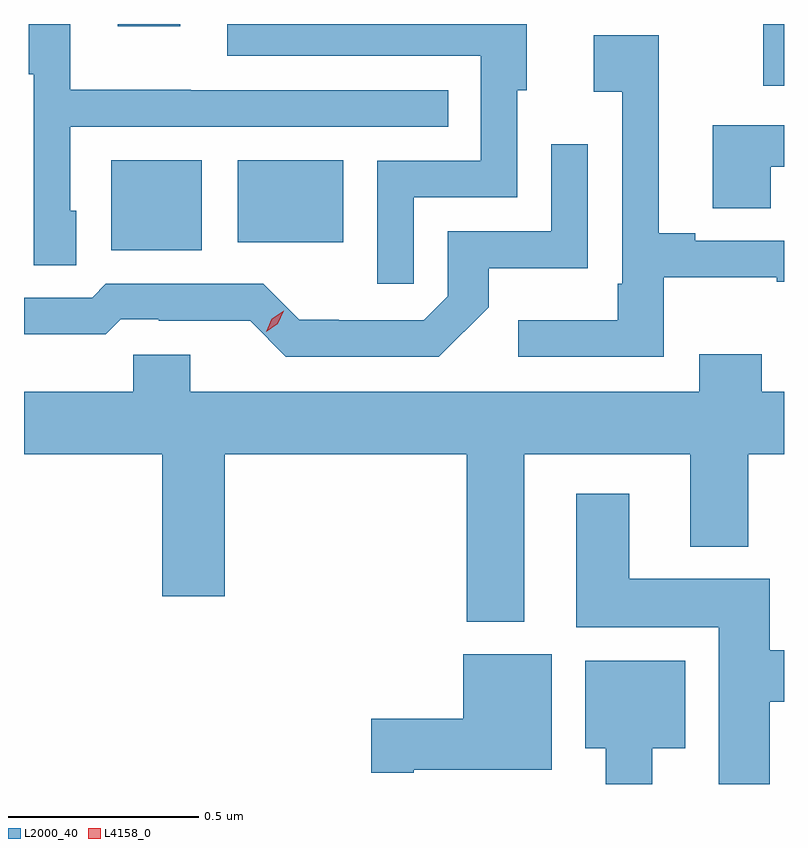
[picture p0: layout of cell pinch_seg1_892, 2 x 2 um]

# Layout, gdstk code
import gdstk
lib = gdstk.Library(unit=1e-6, precision=1e-09)
def R(c, l, rs):  # rectangles x0, y0, x1, y1
    for r in rs: c.add(gdstk.rectangle(r[:2], r[2:], *l))
def P(c, l, *ps):  # polygons
    for p in ps: c.add(gdstk.Polygon(p, *l))
L2000_40 = (2000, 40)
L4158_0 = (4158, 0)

pinch_seg1_892 = lib.new_cell('pinch_seg1_892')
R(pinch_seg1_892, L2000_40, [(464.573,517.637,464.812,517.873), (464.906,517.658,465.184,517.873), (466.289,518.07,466.344,518.232), (464.591,518.226,464.755,518.232)])
P(pinch_seg1_892, L2000_40, [(465.369,517.776),(465.642,517.776),(465.642,518.058),(465.667,518.058),(465.667,518.232),(464.879,518.232),(464.879,518.148),(465.546,518.148),(465.546,517.872),(465.273,517.872),(465.273,517.548),(465.369,517.548)],
  [(464.482,517.74),(464.466,517.74),(464.466,517.962),(465.461,517.962),(465.461,518.058),(464.783,518.058),(464.783,518.059),(464.466,518.059),(464.466,518.232),(464.357,518.232),(464.357,518.1),(464.37,518.1),(464.37,517.597),(464.482,517.597)],
  [(466.027,517.565),(466.325,517.565),(466.325,517.554),(466.344,517.554),(466.344,517.662),(466.111,517.662),(466.111,517.681),(466.015,517.681),(466.015,518.203),(465.843,518.203),(465.843,518.054),(465.918,518.054),(465.918,517.549),(465.906,517.549),(465.906,517.453),(465.645,517.453),(465.645,517.356),(466.027,517.356)],
  [(466.309,517.856),(466.344,517.856),(466.344,517.966),(466.157,517.966),(466.157,517.747),(466.309,517.747)],
  [(465.567,517.487),(465.567,517.589),(465.828,517.589),(465.828,517.915),(465.732,517.915),(465.732,517.686),(465.459,517.686),(465.459,517.515),(465.396,517.452),(465.172,517.452),(465.172,517.454),(465.068,517.454),(464.973,517.548),(464.559,517.548),(464.523,517.512),(464.344,517.512),(464.344,517.416),(464.559,517.416),(464.598,517.455),(464.698,517.455),(464.698,517.451),(464.939,517.451),(465.033,517.356),(465.436,517.356)],
  [(465.661,517.1),(466.097,517.1),(466.097,516.857),(466.25,516.857),(466.25,517.1),(466.344,517.1),(466.344,517.264),(466.285,517.264),(466.285,517.363),(466.121,517.363),(466.121,517.264),(464.782,517.264),(464.782,517.362),(464.632,517.362),(464.632,517.264),(464.344,517.264),(464.344,517.1),(464.708,517.1),(464.708,516.726),(464.872,516.726),(464.872,517.1),(465.509,517.1),(465.509,516.659),(465.661,516.659)],
  [(466.307,516.448),(466.344,516.448),(466.344,516.584),(466.307,516.584),(466.307,516.772),(465.937,516.772),(465.937,516.996),(465.797,516.996),(465.797,516.644),(466.172,516.644),(466.172,516.232),(466.307,516.232)],
  [(465.37,516.269),(465.733,516.269),(465.733,516.574),(465.5,516.574),(465.5,516.404),(465.258,516.404),(465.258,516.262),(465.37,516.262)],
  [(465.997,516.326),(466.084,516.326),(466.084,516.556),(465.821,516.556),(465.821,516.326),(465.875,516.326),(465.875,516.232),(465.997,516.232)])
P(pinch_seg1_892, L4158_0, [(464.981,517.422),(464.981,517.422),(464.996,517.456),(465.027,517.477),(465.027,517.477),(465.027,517.477),(465.012,517.443),(464.981,517.422)])

lib.write_gds('pinch_seg1_892.gds')
